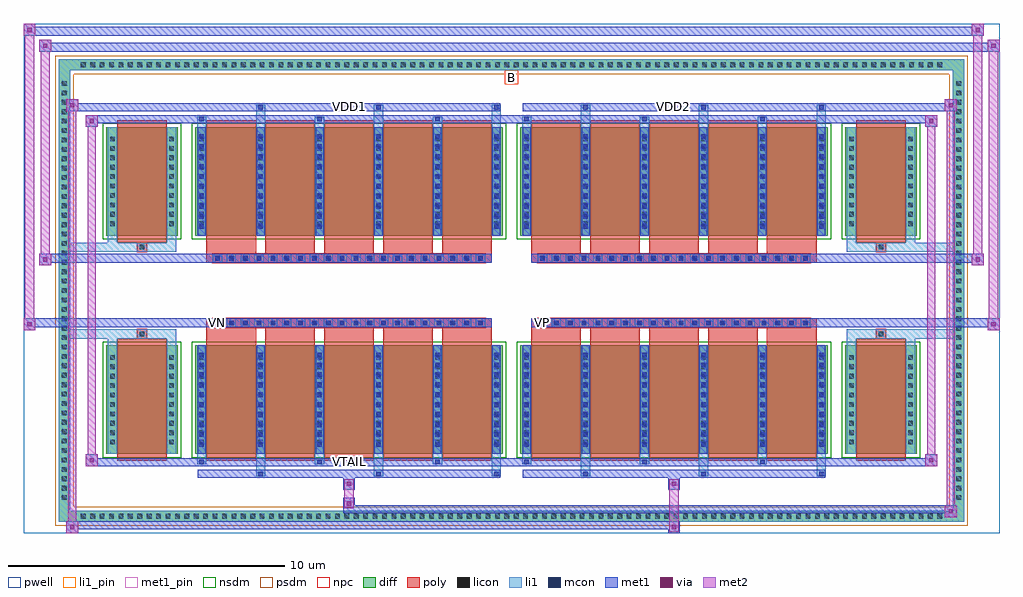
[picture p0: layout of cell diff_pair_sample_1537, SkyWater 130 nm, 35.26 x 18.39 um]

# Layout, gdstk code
import gdstk
lib = gdstk.Library(unit=1e-6, precision=5e-09)
def R(c, l, rs):  # rectangles x0, y0, x1, y1
    for r in rs: c.add(gdstk.rectangle(r[:2], r[2:], *l))
def A(c, l, x, y, w, h, nx, ny, dx, dy):  # array of equal rectangles
    R(c, l, [(x+i*dx, y+j*dy, x+i*dx+w, y+j*dy+h) for i in range(nx) for j in range(ny)])
def P(c, l, *ps):  # polygons
    for p in ps: c.add(gdstk.Polygon(p, *l))
pwell = (64, 44)
diff = (65, 20)
poly = (66, 20)
licon = (66, 44)
li1_pin = (67, 16)
li1 = (67, 20)
mcon = (67, 44)
met1_pin = (68, 16)
met1 = (68, 20)
via = (68, 44)
met2 = (69, 20)
nsdm = (93, 44)
psdm = (94, 20)
npc = (95, 20)

diff_pair_sample_1537 = lib.new_cell('diff_pair_sample_1537')
R(diff_pair_sample_1537, pwell, [(-17.63,-8.76,17.63,9.63), (-14.95,-6.95,-0.01,-0.805), (0.01,-6.95,14.95,-0.805), (-14.95,0.805,-0.01,6.95), (0.01,0.805,14.95,6.95)])
A(diff_pair_sample_1537, diff, -15.675, -8.36, 0.41, 0.41, 92, 2, 0.34, 16.31)
A(diff_pair_sample_1537, diff, -16.36, -7.685, 0.41, 0.41, 1, 45, 0, 0.34)
A(diff_pair_sample_1537, diff, 15.95, -7.685, 0.41, 0.41, 1, 45, 0, 0.34)
R(diff_pair_sample_1537, diff, [(-15.675,-8.36,15.675,-7.95), (-16.36,-7.685,-15.95,7.685), (15.95,-7.685,16.36,7.685), (-14.64,-5.905,-12.06,-1.985), (-11.42,-5.905,-0.32,-1.985), (0.32,-5.905,11.42,-1.985), (12.06,-5.905,14.64,-1.985), (-14.64,1.985,-12.06,5.905), (-11.42,1.985,-0.32,5.905), (0.32,1.985,11.42,5.905), (12.06,1.985,14.64,5.905), (-15.675,7.95,15.675,8.36)])
P(diff_pair_sample_1537, diff, [(16.36,8.36),(-16.36,8.36),(-16.36,-7.95),(-15.95,-7.95),(-15.95,7.95),(15.95,7.95),(15.95,-7.95),(-15.95,-7.95),(-16.36,-7.95),(-16.36,-8.36),(16.36,-8.36)])
A(diff_pair_sample_1537, poly, -11.03, -6.155, 1.8, 4.42, 5, 2, 2.13, 7.89)
A(diff_pair_sample_1537, poly, 0.71, -6.155, 1.8, 4.42, 5, 2, 2.13, 7.89)
A(diff_pair_sample_1537, poly, -11.03, -1.735, 1.8, 0.4, 5, 2, 2.13, 3.07)
A(diff_pair_sample_1537, poly, 0.71, -1.735, 1.8, 0.4, 5, 2, 2.13, 3.07)
A(diff_pair_sample_1537, poly, -10.785, -1.335, 0.33, 0.33, 20, 2, 0.5, 2.34)
A(diff_pair_sample_1537, poly, 0.955, -1.335, 0.33, 0.33, 20, 2, 0.5, 2.34)
R(diff_pair_sample_1537, poly, [(-14.25,-6.155,-12.45,-1.735), (12.45,-6.155,14.25,-1.735), (-13.515,-1.735,-13.185,-1.405), (-13.515,-1.735,-13.185,-1.405), (13.185,-1.735,13.515,-1.405), (13.185,-1.735,13.515,-1.405), (-11.03,-1.335,-0.71,-1.005), (0.71,-1.335,11.03,-1.005), (-11.03,1.005,-0.71,1.335), (0.71,1.005,11.03,1.335), (-13.515,1.405,-13.185,1.735), (-13.515,1.405,-13.185,1.735), (13.185,1.405,13.515,1.735), (13.185,1.405,13.515,1.735), (-14.25,1.735,-12.45,6.155), (12.45,1.735,14.25,6.155)])
A(diff_pair_sample_1537, licon, -15.555, -8.24, 0.17, 0.17, 92, 2, 0.34, 16.31)
A(diff_pair_sample_1537, licon, -16.24, -7.565, 0.17, 0.17, 1, 45, 0, 0.34)
A(diff_pair_sample_1537, licon, 16.07, -7.565, 0.17, 0.17, 1, 45, 0, 0.34)
A(diff_pair_sample_1537, licon, -14.5, -5.56, 0.17, 0.17, 1, 10, 0, 0.34)
A(diff_pair_sample_1537, licon, -12.37, -5.56, 0.17, 0.17, 1, 10, 0, 0.34)
A(diff_pair_sample_1537, licon, -11.28, -5.56, 0.17, 0.17, 6, 10, 2.13, 0.34)
A(diff_pair_sample_1537, licon, 0.46, -5.56, 0.17, 0.17, 6, 10, 2.13, 0.34)
A(diff_pair_sample_1537, licon, 12.2, -5.56, 0.17, 0.17, 1, 10, 0, 0.34)
A(diff_pair_sample_1537, licon, 14.33, -5.56, 0.17, 0.17, 1, 10, 0, 0.34)
A(diff_pair_sample_1537, licon, -10.705, -1.255, 0.17, 0.17, 20, 2, 0.5, 2.34)
A(diff_pair_sample_1537, licon, 1.035, -1.255, 0.17, 0.17, 20, 2, 0.5, 2.34)
A(diff_pair_sample_1537, licon, -14.5, 2.33, 0.17, 0.17, 1, 10, 0, 0.34)
A(diff_pair_sample_1537, licon, -12.37, 2.33, 0.17, 0.17, 1, 10, 0, 0.34)
A(diff_pair_sample_1537, licon, -11.28, 2.33, 0.17, 0.17, 6, 10, 2.13, 0.34)
A(diff_pair_sample_1537, licon, 0.46, 2.33, 0.17, 0.17, 6, 10, 2.13, 0.34)
A(diff_pair_sample_1537, licon, 12.2, 2.33, 0.17, 0.17, 1, 10, 0, 0.34)
A(diff_pair_sample_1537, licon, 14.33, 2.33, 0.17, 0.17, 1, 10, 0, 0.34)
R(diff_pair_sample_1537, licon, [(-13.435,-1.655,-13.265,-1.485), (13.265,-1.655,13.435,-1.485), (-13.435,1.485,-13.265,1.655), (13.265,1.485,13.435,1.655)])
R(diff_pair_sample_1537, li1_pin, [(-0.25,7.45,0.25,7.95)])
A(diff_pair_sample_1537, li1, -15.635, -8.32, 0.33, 0.33, 92, 2, 0.34, 16.31)
A(diff_pair_sample_1537, li1, -16.32, -7.645, 0.33, 0.33, 1, 45, 0, 0.34)
A(diff_pair_sample_1537, li1, 15.99, -7.645, 0.33, 0.33, 1, 45, 0, 0.34)
A(diff_pair_sample_1537, li1, -9.23, -6.71, 0.33, 0.805, 3, 2, 4.26, 12.615)
A(diff_pair_sample_1537, li1, -9.15, -6.71, 0.17, 0.17, 3, 2, 4.26, 13.25)
A(diff_pair_sample_1537, li1, 2.51, -6.71, 0.33, 0.805, 3, 2, 4.26, 12.615)
A(diff_pair_sample_1537, li1, 2.59, -6.71, 0.17, 0.17, 3, 2, 4.26, 13.25)
A(diff_pair_sample_1537, li1, -11.36, -6.28, 0.33, 0.375, 3, 2, 4.26, 12.185)
A(diff_pair_sample_1537, li1, -11.28, -6.28, 0.17, 0.17, 3, 2, 4.26, 12.39)
A(diff_pair_sample_1537, li1, 0.38, -6.28, 0.33, 0.375, 3, 2, 4.26, 12.185)
A(diff_pair_sample_1537, li1, 0.46, -6.28, 0.17, 0.17, 3, 2, 4.26, 12.39)
A(diff_pair_sample_1537, li1, -11.36, -5.905, 0.33, 3.92, 6, 2, 2.13, 7.89)
A(diff_pair_sample_1537, li1, 0.38, -5.905, 0.33, 3.92, 6, 2, 2.13, 7.89)
A(diff_pair_sample_1537, li1, -11.28, -5.65, 0.17, 0.17, 6, 10, 2.13, 0.36)
A(diff_pair_sample_1537, li1, -11.28, -5.65, 0.17, 3.41, 6, 2, 2.13, 7.89)
A(diff_pair_sample_1537, li1, 0.46, -5.65, 0.17, 0.17, 6, 10, 2.13, 0.36)
A(diff_pair_sample_1537, li1, 0.46, -5.65, 0.17, 3.41, 6, 2, 2.13, 7.89)
A(diff_pair_sample_1537, li1, -14.58, -5.64, 0.33, 0.33, 1, 10, 0, 0.34)
A(diff_pair_sample_1537, li1, -12.45, -5.64, 0.33, 0.33, 1, 10, 0, 0.34)
A(diff_pair_sample_1537, li1, -11.36, -5.64, 0.33, 0.33, 6, 10, 2.13, 0.34)
A(diff_pair_sample_1537, li1, 0.38, -5.64, 0.33, 0.33, 6, 10, 2.13, 0.34)
A(diff_pair_sample_1537, li1, 12.12, -5.64, 0.33, 0.33, 1, 10, 0, 0.34)
A(diff_pair_sample_1537, li1, 14.25, -5.64, 0.33, 0.33, 1, 10, 0, 0.34)
A(diff_pair_sample_1537, li1, -10.785, -1.335, 0.33, 0.33, 20, 2, 0.5, 2.34)
A(diff_pair_sample_1537, li1, 0.955, -1.335, 0.33, 0.33, 20, 2, 0.5, 2.34)
A(diff_pair_sample_1537, li1, -11.28, 2.24, 0.17, 0.17, 6, 10, 2.13, 0.36)
A(diff_pair_sample_1537, li1, 0.46, 2.24, 0.17, 0.17, 6, 10, 2.13, 0.36)
A(diff_pair_sample_1537, li1, -14.58, 2.25, 0.33, 0.33, 1, 10, 0, 0.34)
A(diff_pair_sample_1537, li1, -12.45, 2.25, 0.33, 0.33, 1, 10, 0, 0.34)
A(diff_pair_sample_1537, li1, -11.36, 2.25, 0.33, 0.33, 6, 10, 2.13, 0.34)
A(diff_pair_sample_1537, li1, 0.38, 2.25, 0.33, 0.33, 6, 10, 2.13, 0.34)
A(diff_pair_sample_1537, li1, 12.12, 2.25, 0.33, 0.33, 1, 10, 0, 0.34)
A(diff_pair_sample_1537, li1, 14.25, 2.25, 0.33, 0.33, 1, 10, 0, 0.34)
R(diff_pair_sample_1537, li1, [(-16.36,-8.36,-15.95,-7.95), (-16.36,-8.36,-15.95,-7.95), (-15.95,-8.36,15.95,-7.95), (15.95,-8.36,16.36,-7.95), (15.95,-8.36,16.36,-7.95), (-16.36,-7.95,-15.95,7.95), (15.95,-7.95,16.36,7.95), (-14.58,-5.905,-14.25,-1.985), (-12.45,-5.905,-12.12,-1.985), (12.12,-5.905,12.45,-1.985), (14.25,-5.905,14.58,-1.985), (-14.58,-1.985,-14.25,-1.405), (-12.45,-1.985,-12.12,-1.405), (12.12,-1.985,12.45,-1.405), (14.25,-1.985,14.58,-1.405), (-16.36,-1.735,-13.515,-1.405), (-14.58,-1.735,-13.515,-1.405), (-13.515,-1.735,-13.185,-1.405), (-13.185,-1.735,-12.12,-1.405), (12.12,-1.735,13.185,-1.405), (13.185,-1.735,13.515,-1.405), (13.185,-1.735,16.36,-1.405), (13.515,-1.735,14.58,-1.405), (-16.36,1.405,-13.515,1.735), (-14.58,1.405,-13.515,1.735), (-14.58,1.405,-14.25,1.985), (-13.515,1.405,-13.185,1.735), (-13.185,1.405,-12.12,1.735), (-12.45,1.405,-12.12,1.985), (12.12,1.405,13.185,1.735), (12.12,1.405,12.45,1.985), (13.185,1.405,13.515,1.735), (13.185,1.405,16.36,1.735), (13.515,1.405,14.58,1.735), (14.25,1.405,14.58,1.985), (-14.58,1.985,-14.25,5.905), (-12.45,1.985,-12.12,5.905), (12.12,1.985,12.45,5.905), (14.25,1.985,14.58,5.905), (-16.36,7.95,-15.95,8.36), (-16.36,7.95,-15.95,8.36), (-15.95,7.95,15.95,8.36), (15.95,7.95,16.36,8.36), (15.95,7.95,16.36,8.36)])
A(diff_pair_sample_1537, mcon, -9.15, -6.71, 0.17, 0.17, 3, 2, 4.26, 13.25)
A(diff_pair_sample_1537, mcon, 2.59, -6.71, 0.17, 0.17, 3, 2, 4.26, 13.25)
A(diff_pair_sample_1537, mcon, -11.28, -6.28, 0.17, 0.17, 3, 2, 4.26, 12.39)
A(diff_pair_sample_1537, mcon, 0.46, -6.28, 0.17, 0.17, 3, 2, 4.26, 12.39)
A(diff_pair_sample_1537, mcon, -11.28, -5.65, 0.17, 0.17, 6, 10, 2.13, 0.36)
A(diff_pair_sample_1537, mcon, 0.46, -5.65, 0.17, 0.17, 6, 10, 2.13, 0.36)
A(diff_pair_sample_1537, mcon, -10.705, -1.255, 0.17, 0.17, 20, 2, 0.5, 2.34)
A(diff_pair_sample_1537, mcon, 1.035, -1.255, 0.17, 0.17, 20, 2, 0.5, 2.34)
A(diff_pair_sample_1537, mcon, -11.28, 2.24, 0.17, 0.17, 6, 10, 2.13, 0.36)
A(diff_pair_sample_1537, mcon, 0.46, 2.24, 0.17, 0.17, 6, 10, 2.13, 0.36)
R(diff_pair_sample_1537, met1_pin, [(-6.005,-6.32,-5.735,-6.05), (-10.755,-1.295,-10.485,-1.025), (0.985,-1.295,1.255,-1.025), (-6.005,6.5,-5.735,6.77), (5.735,6.5,6.005,6.77)])
A(diff_pair_sample_1537, met1, -9.21, -6.77, 0.29, 0.29, 3, 2, 4.26, 13.25)
A(diff_pair_sample_1537, met1, 2.53, -6.77, 0.29, 0.29, 3, 2, 4.26, 13.25)
A(diff_pair_sample_1537, met1, -11.34, -6.34, 0.29, 0.29, 3, 2, 4.26, 12.39)
A(diff_pair_sample_1537, met1, 0.4, -6.34, 0.29, 0.29, 3, 2, 4.26, 12.39)
A(diff_pair_sample_1537, met1, -11.34, -5.905, 0.29, 3.92, 6, 2, 2.13, 7.89)
A(diff_pair_sample_1537, met1, 0.4, -5.905, 0.29, 3.92, 6, 2, 2.13, 7.89)
A(diff_pair_sample_1537, met1, -11.34, -5.71, 0.29, 0.29, 6, 10, 2.13, 0.36)
A(diff_pair_sample_1537, met1, 0.4, -5.71, 0.29, 0.29, 6, 10, 2.13, 0.36)
A(diff_pair_sample_1537, met1, -10.765, -1.315, 0.29, 0.29, 20, 2, 0.5, 2.34)
A(diff_pair_sample_1537, met1, 0.975, -1.315, 0.29, 0.29, 20, 2, 0.5, 2.34)
A(diff_pair_sample_1537, met1, -11.34, 2.18, 0.29, 0.29, 6, 10, 2.13, 0.36)
A(diff_pair_sample_1537, met1, 0.4, 2.18, 0.29, 0.29, 6, 10, 2.13, 0.36)
R(diff_pair_sample_1537, met1, [(-16.09,-8.76,-15.66,-8.33), (5.655,-8.76,6.085,-8.33), (-16.09,-8.62,6.085,-8.33), (15.66,-8.19,16.09,-7.76), (-6.085,-8.05,16.09,-7.76), (-6.085,-7.91,-5.655,-7.48), (-6.085,-7.2,-5.655,-6.77), (5.655,-7.2,6.085,-6.77), (-11.34,-6.77,-0.4,-6.48), (0.4,-6.77,11.34,-6.48), (-15.38,-6.34,-14.95,-5.91), (-15.38,-6.34,-11.34,-6.05), (-11.34,-6.34,-0.4,-6.05), (-0.4,-6.34,0.4,-6.05), (0.4,-6.34,11.34,-6.05), (11.34,-6.34,15.38,-6.05), (14.95,-6.34,15.38,-5.91), (-17.63,-1.435,-17.2,-1.005), (17.2,-1.435,17.63,-1.005), (-17.63,-1.335,-0.71,-1.005), (-11.03,-1.335,-0.71,-1.005), (0.71,-1.335,11.03,-1.005), (0.71,-1.335,17.63,-1.005), (-17.06,0.905,-16.63,1.335), (16.63,0.905,17.06,1.335), (-17.06,1.005,-11.03,1.335), (-11.03,1.005,-0.71,1.335), (0.71,1.005,11.03,1.335), (11.03,1.005,17.06,1.335), (-15.38,5.91,-14.95,6.34), (14.95,5.91,15.38,6.34), (-15.38,6.05,-11.34,6.34), (-11.34,6.05,-0.4,6.34), (-0.4,6.05,0.4,6.34), (0.4,6.05,11.34,6.34), (11.34,6.05,15.38,6.34), (-16.09,6.48,-15.66,6.91), (-16.09,6.48,-11.34,6.77), (-11.34,6.48,-0.4,6.77), (0.4,6.48,11.34,6.77), (11.34,6.48,16.09,6.77), (15.66,6.48,16.09,6.91), (-17.06,8.63,-16.63,9.06), (-17.06,8.63,-14.95,8.96), (-14.95,8.63,14.95,8.96), (14.95,8.63,17.63,8.96), (17.2,8.63,17.63,9.06), (-17.63,9.2,-17.2,9.63), (-17.63,9.2,-14.95,9.53), (-14.95,9.2,14.95,9.53), (14.95,9.2,17.06,9.53), (16.63,9.2,17.06,9.63)])
R(diff_pair_sample_1537, via, [(-15.95,-8.62,-15.8,-8.47), (5.795,-8.62,5.945,-8.47), (15.8,-8.05,15.95,-7.9), (-5.945,-7.77,-5.795,-7.62), (-5.945,-7.06,-5.795,-6.91), (5.795,-7.06,5.945,-6.91), (-15.24,-6.2,-15.09,-6.05), (15.09,-6.2,15.24,-6.05), (-17.49,-1.295,-17.34,-1.145), (17.34,-1.295,17.49,-1.145), (-16.92,1.045,-16.77,1.195), (16.77,1.045,16.92,1.195), (-15.24,6.05,-15.09,6.2), (15.09,6.05,15.24,6.2), (-15.95,6.62,-15.8,6.77), (15.8,6.62,15.95,6.77), (-16.92,8.77,-16.77,8.92), (17.34,8.77,17.49,8.92), (-17.49,9.34,-17.34,9.49), (16.77,9.34,16.92,9.49)])
R(diff_pair_sample_1537, met2, [(-16.09,-8.76,-15.66,-8.33), (-16.02,-8.76,-15.73,6.91), (-15.73,-8.76,-15.66,-8.33), (-16.04,-8.71,-15.71,-8.38), (5.705,-8.71,6.035,-8.38), (5.705,-8.38,6.035,-7.15), (15.66,-8.19,16.09,-7.76), (15.73,-8.19,16.02,6.91), (16.02,-8.19,16.09,-7.76), (15.71,-8.14,16.04,-7.81), (-6.035,-7.86,-5.705,-7.53), (-6.035,-7.53,-5.705,-7.15), (-6.035,-7.15,-5.705,-6.82), (5.705,-7.15,6.035,-6.82), (-15.38,-6.34,-14.95,-5.91), (-15.31,-6.34,-15.02,6.34), (-15.02,-6.34,-14.95,-5.91), (14.95,-6.34,15.38,-5.91), (15.02,-6.34,15.31,6.34), (15.31,-6.34,15.38,-5.91), (-15.33,-6.29,-15,-5.96), (15,-6.29,15.33,-5.96), (-17.63,-1.435,-17.2,-1.005), (-17.58,-1.435,-17.25,9.63), (-17.25,-1.435,-17.2,-1.005), (17.2,-1.435,17.63,-1.005), (17.25,-1.435,17.58,9.06), (17.58,-1.435,17.63,-1.005), (-17.58,-1.385,-17.25,-1.055), (17.25,-1.385,17.58,-1.055), (-17.06,0.905,-16.63,1.335), (-17.01,0.905,-16.68,9.06), (-16.68,0.905,-16.63,1.335), (16.63,0.905,17.06,1.335), (16.68,0.905,17.01,9.63), (17.01,0.905,17.06,1.335), (-17.01,0.955,-16.68,1.285), (16.68,0.955,17.01,1.285), (-15.38,5.91,-14.95,6.34), (-15.02,5.91,-14.95,6.34), (14.95,5.91,15.38,6.34), (15.31,5.91,15.38,6.34), (-15.33,5.96,-15,6.29), (15,5.96,15.33,6.29), (-16.09,6.48,-15.66,6.91), (-15.73,6.48,-15.66,6.91), (15.66,6.48,16.09,6.91), (16.02,6.48,16.09,6.91), (-16.04,6.53,-15.71,6.86), (15.71,6.53,16.04,6.86), (-17.06,8.63,-16.63,9.06), (-16.68,8.63,-16.63,9.06), (17.2,8.63,17.63,9.06), (17.58,8.63,17.63,9.06), (-17.01,8.68,-16.68,9.01), (17.25,8.68,17.58,9.01), (-17.63,9.2,-17.2,9.63), (-17.25,9.2,-17.2,9.63), (16.63,9.2,17.06,9.63), (17.01,9.2,17.06,9.63), (-17.58,9.25,-17.25,9.58), (16.68,9.25,17.01,9.58)])
R(diff_pair_sample_1537, nsdm, [(-14.77,-6.035,-11.93,-1.855), (-11.55,-6.035,-0.19,-1.855), (0.19,-6.035,11.55,-1.855), (11.93,-6.035,14.77,-1.855), (-14.77,1.855,-11.93,6.035), (-11.55,1.855,-0.19,6.035), (0.19,1.855,11.55,6.035), (11.93,1.855,14.77,6.035)])
P(diff_pair_sample_1537, psdm, [(16.49,8.49),(-16.49,8.49),(-16.49,-7.82),(-15.82,-7.82),(-15.82,7.82),(15.82,7.82),(15.82,-7.82),(-15.82,-7.82),(-16.49,-7.82),(-16.49,-8.49),(16.49,-8.49)])
A(diff_pair_sample_1537, npc, -10.805, -1.355, 0.37, 0.37, 20, 2, 0.5, 2.34)
A(diff_pair_sample_1537, npc, 0.935, -1.355, 0.37, 0.37, 20, 2, 0.5, 2.34)
R(diff_pair_sample_1537, npc, [(-13.535,-1.755,-13.165,-1.385), (13.165,-1.755,13.535,-1.385), (-10.805,-1.355,-9.935,-0.985), (-10.805,-1.355,-9.935,-0.985), (-10.305,-1.355,-9.435,-0.985), (-10.305,-1.355,-9.435,-0.985), (-9.805,-1.355,-8.935,-0.985), (-9.805,-1.355,-8.935,-0.985), (-9.305,-1.355,-8.435,-0.985), (-9.305,-1.355,-8.435,-0.985), (-8.805,-1.355,-7.935,-0.985), (-8.805,-1.355,-7.935,-0.985), (-8.305,-1.355,-7.435,-0.985), (-8.305,-1.355,-7.435,-0.985), (-7.805,-1.355,-6.935,-0.985), (-7.805,-1.355,-6.935,-0.985), (-7.305,-1.355,-6.435,-0.985), (-7.305,-1.355,-6.435,-0.985), (-6.805,-1.355,-5.935,-0.985), (-6.805,-1.355,-5.935,-0.985), (-6.305,-1.355,-5.435,-0.985), (-6.305,-1.355,-5.435,-0.985), (-5.805,-1.355,-4.935,-0.985), (-5.805,-1.355,-4.935,-0.985), (-5.305,-1.355,-4.435,-0.985), (-5.305,-1.355,-4.435,-0.985), (-4.805,-1.355,-3.935,-0.985), (-4.805,-1.355,-3.935,-0.985), (-4.305,-1.355,-3.435,-0.985), (-4.305,-1.355,-3.435,-0.985), (-3.805,-1.355,-2.935,-0.985), (-3.805,-1.355,-2.935,-0.985), (-3.305,-1.355,-2.435,-0.985), (-3.305,-1.355,-2.435,-0.985), (-2.805,-1.355,-1.935,-0.985), (-2.805,-1.355,-1.935,-0.985), (-2.305,-1.355,-1.435,-0.985), (-2.305,-1.355,-1.435,-0.985), (-1.805,-1.355,-0.935,-0.985), (-1.805,-1.355,-0.935,-0.985), (0.935,-1.355,1.805,-0.985), (0.935,-1.355,1.805,-0.985), (1.435,-1.355,2.305,-0.985), (1.435,-1.355,2.305,-0.985), (1.935,-1.355,2.805,-0.985), (1.935,-1.355,2.805,-0.985), (2.435,-1.355,3.305,-0.985), (2.435,-1.355,3.305,-0.985), (2.935,-1.355,3.805,-0.985), (2.935,-1.355,3.805,-0.985), (3.435,-1.355,4.305,-0.985), (3.435,-1.355,4.305,-0.985), (3.935,-1.355,4.805,-0.985), (3.935,-1.355,4.805,-0.985), (4.435,-1.355,5.305,-0.985), (4.435,-1.355,5.305,-0.985), (4.935,-1.355,5.805,-0.985), (4.935,-1.355,5.805,-0.985), (5.435,-1.355,6.305,-0.985), (5.435,-1.355,6.305,-0.985), (5.935,-1.355,6.805,-0.985), (5.935,-1.355,6.805,-0.985), (6.435,-1.355,7.305,-0.985), (6.435,-1.355,7.305,-0.985), (6.935,-1.355,7.805,-0.985), (6.935,-1.355,7.805,-0.985), (7.435,-1.355,8.305,-0.985), (7.435,-1.355,8.305,-0.985), (7.935,-1.355,8.805,-0.985), (7.935,-1.355,8.805,-0.985), (8.435,-1.355,9.305,-0.985), (8.435,-1.355,9.305,-0.985), (8.935,-1.355,9.805,-0.985), (8.935,-1.355,9.805,-0.985), (9.435,-1.355,10.305,-0.985), (9.435,-1.355,10.305,-0.985), (9.935,-1.355,10.805,-0.985), (9.935,-1.355,10.805,-0.985), (-10.805,0.985,-9.935,1.355), (-10.805,0.985,-9.935,1.355), (-10.305,0.985,-9.435,1.355), (-10.305,0.985,-9.435,1.355), (-9.805,0.985,-8.935,1.355), (-9.805,0.985,-8.935,1.355), (-9.305,0.985,-8.435,1.355), (-9.305,0.985,-8.435,1.355), (-8.805,0.985,-7.935,1.355), (-8.805,0.985,-7.935,1.355), (-8.305,0.985,-7.435,1.355), (-8.305,0.985,-7.435,1.355), (-7.805,0.985,-6.935,1.355), (-7.805,0.985,-6.935,1.355), (-7.305,0.985,-6.435,1.355), (-7.305,0.985,-6.435,1.355), (-6.805,0.985,-5.935,1.355), (-6.805,0.985,-5.935,1.355), (-6.305,0.985,-5.435,1.355), (-6.305,0.985,-5.435,1.355), (-5.805,0.985,-4.935,1.355), (-5.805,0.985,-4.935,1.355), (-5.305,0.985,-4.435,1.355), (-5.305,0.985,-4.435,1.355), (-4.805,0.985,-3.935,1.355), (-4.805,0.985,-3.935,1.355), (-4.305,0.985,-3.435,1.355), (-4.305,0.985,-3.435,1.355), (-3.805,0.985,-2.935,1.355), (-3.805,0.985,-2.935,1.355), (-3.305,0.985,-2.435,1.355), (-3.305,0.985,-2.435,1.355), (-2.805,0.985,-1.935,1.355), (-2.805,0.985,-1.935,1.355), (-2.305,0.985,-1.435,1.355), (-2.305,0.985,-1.435,1.355), (-1.805,0.985,-0.935,1.355), (-1.805,0.985,-0.935,1.355), (0.935,0.985,1.805,1.355), (0.935,0.985,1.805,1.355), (1.435,0.985,2.305,1.355), (1.435,0.985,2.305,1.355), (1.935,0.985,2.805,1.355), (1.935,0.985,2.805,1.355), (2.435,0.985,3.305,1.355), (2.435,0.985,3.305,1.355), (2.935,0.985,3.805,1.355), (2.935,0.985,3.805,1.355), (3.435,0.985,4.305,1.355), (3.435,0.985,4.305,1.355), (3.935,0.985,4.805,1.355), (3.935,0.985,4.805,1.355), (4.435,0.985,5.305,1.355), (4.435,0.985,5.305,1.355), (4.935,0.985,5.805,1.355), (4.935,0.985,5.805,1.355), (5.435,0.985,6.305,1.355), (5.435,0.985,6.305,1.355), (5.935,0.985,6.805,1.355), (5.935,0.985,6.805,1.355), (6.435,0.985,7.305,1.355), (6.435,0.985,7.305,1.355), (6.935,0.985,7.805,1.355), (6.935,0.985,7.805,1.355), (7.435,0.985,8.305,1.355), (7.435,0.985,8.305,1.355), (7.935,0.985,8.805,1.355), (7.935,0.985,8.805,1.355), (8.435,0.985,9.305,1.355), (8.435,0.985,9.305,1.355), (8.935,0.985,9.805,1.355), (8.935,0.985,9.805,1.355), (9.435,0.985,10.305,1.355), (9.435,0.985,10.305,1.355), (9.935,0.985,10.805,1.355), (9.935,0.985,10.805,1.355), (-13.535,1.385,-13.165,1.755), (13.165,1.385,13.535,1.755)])
diff_pair_sample_1537.add(gdstk.Label('VTAIL', (-5.87,-6.185), layer=68, texttype=5))
diff_pair_sample_1537.add(gdstk.Label('VN', (-10.62,-1.16), layer=68, texttype=5))
diff_pair_sample_1537.add(gdstk.Label('VP', (1.12,-1.16), layer=68, texttype=5))
diff_pair_sample_1537.add(gdstk.Label('B', (0,7.7), layer=67, texttype=5))
diff_pair_sample_1537.add(gdstk.Label('VDD2', (5.87,6.635), layer=68, texttype=5))
diff_pair_sample_1537.add(gdstk.Label('VDD1', (-5.87,6.635), layer=68, texttype=5))

lib.write_gds('diff_pair_sample_1537.gds')
